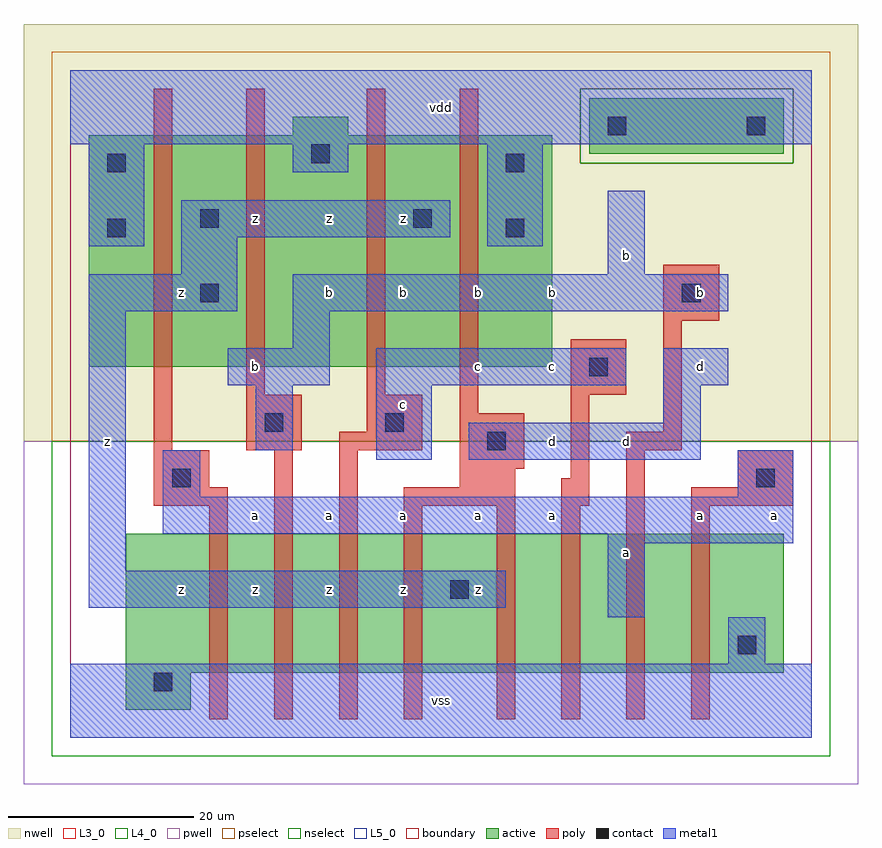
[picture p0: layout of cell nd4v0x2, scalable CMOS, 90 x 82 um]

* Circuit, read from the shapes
.subckt nd4v0x2 a b c d vdd vss z
M1 n1 a vss VSUBS nfet w=15u l=2u
M2 n2 b n1 VSUBS nfet w=15u l=2u
M3 n3 c n2 VSUBS nfet w=15u l=2u
M4 z d n3 VSUBS nfet w=15u l=2u
M5 n4 d z VSUBS nfet w=15u l=2u
M6 n5 c n4 VSUBS nfet w=15u l=2u
M7 n6 b n5 VSUBS nfet w=15u l=2u
M8 vss a n6 VSUBS nfet w=15u l=2u
M9 z a vdd vdd pfet w=25u l=2u
M10 vdd b z vdd pfet w=25u l=2u
M11 z c vdd vdd pfet w=25u l=2u
M12 vdd d z vdd pfet w=25u l=2u
.ends

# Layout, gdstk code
import gdstk
lib = gdstk.Library(unit=1e-6, precision=1e-09)
def R(c, l, rs):  # rectangles x0, y0, x1, y1
    for r in rs: c.add(gdstk.rectangle(r[:2], r[2:], *l))
L3_0 = (3, 0)
L4_0 = (4, 0)
L5_0 = (5, 0)
contact = (25, 0)
pwell = (41, 0)
nwell = (42, 0)
active = (43, 0)
pselect = (44, 0)
nselect = (45, 0)
poly = (46, 0)
metal1 = (49, 0)
boundary = (63, 0)

nd4v0x2 = lib.new_cell('nd4v0x2')
R(nd4v0x2, L3_0, [(6,3,13,7), (6,7,77,22)])
R(nd4v0x2, L4_0, [(2,40,52,65), (24,65,30,67)])
R(nd4v0x2, L5_0, [(56,63,77,69)])
R(nd4v0x2, contact, [(9,5,11,7), (72,9,74,11), (41,15,43,17), (11,27,13,29), (74,27,76,29), (45,31,47,33), (21,33,23,35), (34,33,36,35), (56,39,58,41), (14,47,16,49), (66,47,68,49), (4,54,6,56), (47,54,49,56), (14,55,16,57), (37,55,39,57), (4,61,6,63), (47,61,49,63), (26,62,28,64), (58,65,60,67), (73,65,75,67)])
R(nd4v0x2, pwell, [(-5,-5,85,32)])
R(nd4v0x2, nwell, [(-5,32,85,77)])
R(nd4v0x2, active, [(6,3,13,7), (6,7,77,22), (2,40,52,65), (56,63,77,69), (24,65,30,67)])
R(nd4v0x2, pselect, [(-2,32,82,62), (-2,62,55,70), (78,62,82,70), (-2,70,82,74)])
R(nd4v0x2, nselect, [(-2,-2,82,32), (55,62,78,70)])
R(nd4v0x2, poly, [(15,2,17,25), (22,2,24,31), (29,2,31,31), (36,2,38,25), (46,2,48,25), (53,2,55,25), (60,2,62,31), (67,2,69,25), (9,25,17,27), (36,25,48,27), (53,25,56,28), (67,25,78,27), (9,27,15,31), (42,27,48,29), (72,27,78,31), (54,28,56,37), (42,29,49,35), (9,31,11,70), (19,31,25,37), (29,31,38,33), (60,31,66,33), (32,33,38,37), (64,33,66,45), (42,35,44,70), (19,37,21,70), (32,37,34,70), (54,37,60,43), (64,45,70,51)])
R(nd4v0x2, metal1, [(0,0,80,8), (71,8,75,13), (58,13,62,21), (2,14,47,18), (2,18,6,46), (58,21,78,22), (10,22,78,26), (10,26,14,31), (72,26,78,31), (33,30,39,38), (43,30,68,34), (20,31,24,38), (64,34,68,38), (17,38,28,42), (33,38,60,42), (64,38,71,42), (24,42,28,46), (2,46,18,50), (24,46,71,50), (12,50,18,54), (58,50,62,59), (2,53,8,64), (45,53,51,64), (12,54,41,58), (24,61,30,64), (0,64,80,72)])
R(nd4v0x2, boundary, [(0,0,80,72)])
nd4v0x2.add(gdstk.Label('z', (4,32), layer=49, texttype=0))
nd4v0x2.add(gdstk.Label('z', (20,16), layer=49, texttype=0))
nd4v0x2.add(gdstk.Label('z', (28,16), layer=49, texttype=0))
nd4v0x2.add(gdstk.Label('z', (12,16), layer=49, texttype=0))
nd4v0x2.add(gdstk.Label('a', (20,24), layer=49, texttype=0))
nd4v0x2.add(gdstk.Label('a', (28,24), layer=49, texttype=0))
nd4v0x2.add(gdstk.Label('b', (20,40), layer=49, texttype=0))
nd4v0x2.add(gdstk.Label('z', (12,48), layer=49, texttype=0))
nd4v0x2.add(gdstk.Label('b', (28,48), layer=49, texttype=0))
nd4v0x2.add(gdstk.Label('z', (20,56), layer=49, texttype=0))
nd4v0x2.add(gdstk.Label('z', (28,56), layer=49, texttype=0))
nd4v0x2.add(gdstk.Label('vss', (40,4), layer=49, texttype=0))
nd4v0x2.add(gdstk.Label('z', (36,16), layer=49, texttype=0))
nd4v0x2.add(gdstk.Label('z', (44,16), layer=49, texttype=0))
nd4v0x2.add(gdstk.Label('a', (36,24), layer=49, texttype=0))
nd4v0x2.add(gdstk.Label('a', (44,24), layer=49, texttype=0))
nd4v0x2.add(gdstk.Label('c', (44,40), layer=49, texttype=0))
nd4v0x2.add(gdstk.Label('c', (36,36), layer=49, texttype=0))
nd4v0x2.add(gdstk.Label('b', (36,48), layer=49, texttype=0))
nd4v0x2.add(gdstk.Label('b', (44,48), layer=49, texttype=0))
nd4v0x2.add(gdstk.Label('z', (36,56), layer=49, texttype=0))
nd4v0x2.add(gdstk.Label('vdd', (40,68), layer=49, texttype=0))
nd4v0x2.add(gdstk.Label('a', (52,24), layer=49, texttype=0))
nd4v0x2.add(gdstk.Label('a', (60,20), layer=49, texttype=0))
nd4v0x2.add(gdstk.Label('d', (60,32), layer=49, texttype=0))
nd4v0x2.add(gdstk.Label('d', (52,32), layer=49, texttype=0))
nd4v0x2.add(gdstk.Label('c', (52,40), layer=49, texttype=0))
nd4v0x2.add(gdstk.Label('b', (52,48), layer=49, texttype=0))
nd4v0x2.add(gdstk.Label('b', (60,52), layer=49, texttype=0))
nd4v0x2.add(gdstk.Label('a', (68,24), layer=49, texttype=0))
nd4v0x2.add(gdstk.Label('a', (76,24), layer=49, texttype=0))
nd4v0x2.add(gdstk.Label('d', (68,40), layer=49, texttype=0))
nd4v0x2.add(gdstk.Label('b', (68,48), layer=49, texttype=0))

lib.write_gds('nd4v0x2.gds')
